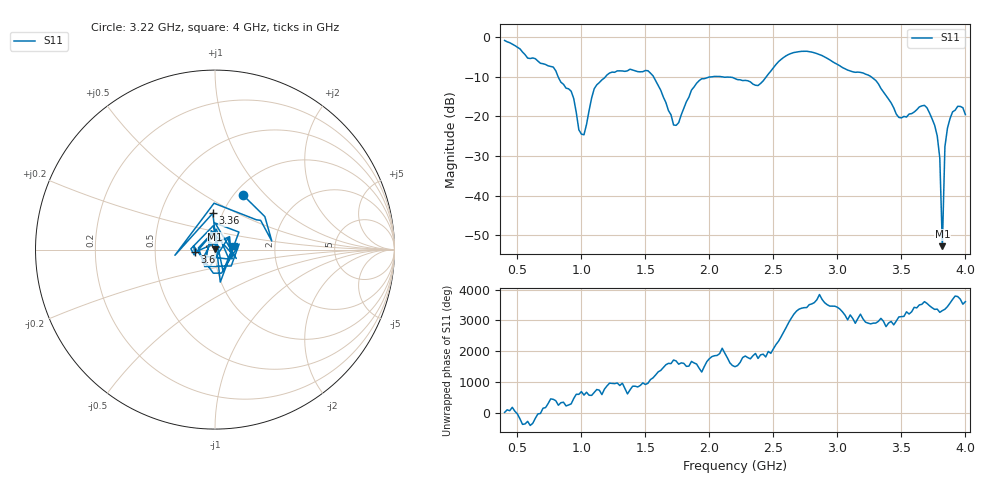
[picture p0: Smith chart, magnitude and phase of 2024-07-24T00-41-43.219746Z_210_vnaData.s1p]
!Created with skrf (http://scikit-rf.org).
# Hz S RI R 50.0
!freq ReS11 ImS11
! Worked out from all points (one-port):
!   181 points, 400 MHz to 4 GHz, reference 50 ohm
!   lowest |S11| = -52.7 dB at 3.82 GHz (marker M1), VSWR 1.00, Z = 50 + j0.228 ohm
!   |S11| at or under -10 dB: 818.2 MHz to 1.188 GHz (369.3 MHz wide, 36.8 % of centre); 1.564 GHz to 2.021 GHz (456.7 MHz wide, 25.5 % of centre); 3.264 GHz to end of sweep (the widest 3 of 4)
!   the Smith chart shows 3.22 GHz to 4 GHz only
!   S11 on the Smith chart (normalised r, x): 3.22 GHz: 1.10, +0.76; 3.36 GHz: 0.90, +0.38; 3.6 GHz: 0.80, -0.02; 4 GHz: 1.23, +0.05
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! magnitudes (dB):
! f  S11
! 400 MHz  -0.8
! 860 MHz  -11.9
! 920 MHz  -13.6
! 980 MHz  -23.4
! 1.02 GHz  -24.6
! 1.1 GHz  -13.0
! 1.3 GHz  -8.5
! 1.52 GHz  -8.5
! 1.72 GHz  -22.1
! 1.76 GHz  -21.6
! 1.92 GHz  -11.0
! 2.2 GHz  -10.4
! 2.38 GHz  -12.2
! 2.66 GHz  -3.9
! 3.1 GHz  -8.5
! 3.22 GHz  -9.3
! 3.36 GHz  -13.8
! 3.48 GHz  -20.2
! 3.56 GHz  -19.4
! 3.6 GHz  -18.9
! 3.7 GHz  -17.8
! 3.78 GHz  -24.9
! 3.8 GHz  -30.5
! 3.82 GHz  -52.7
! 3.84 GHz  -27.6
! 3.86 GHz  -22.9
! 3.94 GHz  -17.4
! 4 GHz  -19.6
